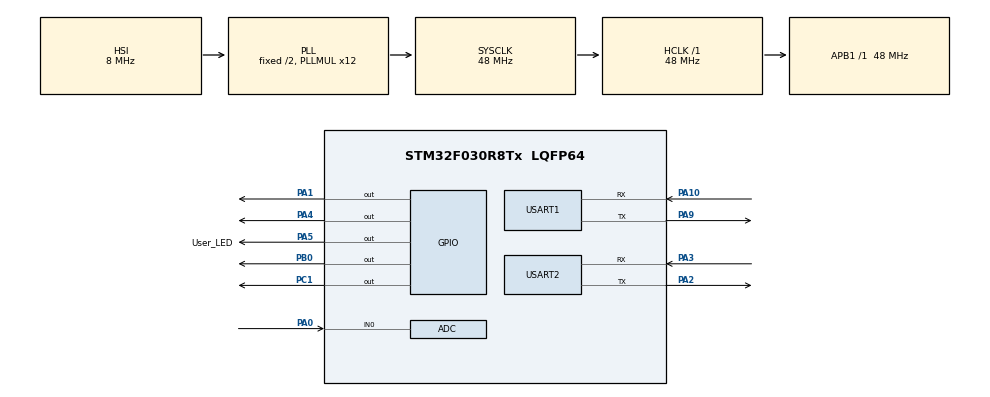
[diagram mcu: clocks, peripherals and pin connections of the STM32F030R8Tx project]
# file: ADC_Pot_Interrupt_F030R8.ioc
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ADC.ContinuousConvMode=ENABLE
ADC.SamplingTime=ADC_SAMPLETIME_239CYCLES_5
Mcu.Family=STM32F0
Mcu.Name=STM32F030R8Tx
Mcu.Package=LQFP64
NVIC.ADC1_IRQn=true\:0\:0\:false\:false\:true\:true\:true\:true
PA0.Mode=IN0
PA0.Signal=ADC_IN0
PA1.GPIO_Speed=GPIO_SPEED_FREQ_MEDIUM
PA1.Signal=GPIO_Output
PA10.Mode=Asynchronous
PA10.Signal=USART1_RX
PA13.Mode=Serial_Wire
PA13.Signal=SYS_SWDIO
PA14.Mode=Serial_Wire
PA14.Signal=SYS_SWCLK
PA2.Mode=Asynchronous
PA2.Signal=USART2_TX
PA3.Mode=Asynchronous
PA3.Signal=USART2_RX
PA4.GPIO_Speed=GPIO_SPEED_FREQ_MEDIUM
PA4.Signal=GPIO_Output
PA5.GPIO_Label=User_LED
PA5.GPIO_Speed=GPIO_SPEED_FREQ_MEDIUM
PA5.Signal=GPIO_Output
PA9.Mode=Asynchronous
PA9.Signal=USART1_TX
PB0.GPIO_Speed=GPIO_SPEED_FREQ_MEDIUM
PB0.Signal=GPIO_Output
PC1.GPIO_Speed=GPIO_SPEED_FREQ_MEDIUM
PC1.Signal=GPIO_Output
ProjectManager.HeapSize=0x200
ProjectManager.StackSize=0x400
ProjectManager.TargetToolchain=STM32CubeIDE
RCC.AHBFreq_Value=48000000
RCC.APB1Freq_Value=48000000
RCC.APB1TimFreq_Value=48000000
RCC.HCLKFreq_Value=48000000
RCC.PLLMUL=RCC_PLL_MUL12
RCC.SYSCLKFreq_VALUE=48000000
RCC.SYSCLKSource=RCC_SYSCLKSOURCE_PLLCLK
USART1.VirtualMode-Asynchronous=VM_ASYNC
USART2.VirtualMode-Asynchronous=VM_ASYNC
board=NUCLEO-F030R8

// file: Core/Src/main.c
/* USER CODE BEGIN Header */
/**
 ******************************************************************************
 * @file           : main.c
 * @brief          : Main program body
 ******************************************************************************
 * @attention
 *
 * Copyright (c) 2026 STMicroelectronics.
 * All rights reserved.
 *
 * This software is licensed under terms that can be found in the LICENSE file
 * in the root directory of this software component.
 * If no LICENSE file comes with this software, it is provided AS-IS.
 *
 ******************************************************************************
 */
/* USER CODE END Header */
#include "main.h"

/* USER CODE BEGIN PD */
//DENEME
/* USER CODE END PD */

ADC_HandleTypeDef hadc;

UART_HandleTypeDef huart1;
UART_HandleTypeDef huart2;

/* USER CODE BEGIN PV */
volatile uint32_t ADC_Value = 0; //ADC degerini tutmak icin yazildi, surekli degisen deger tutacagini islemciye bildirmek icin yazildi
float Voltage = 0;               //gerilimi kaydetmek icin yazildi
int Constrain_Value = 0; //sinirlama fonksiyonunda, hesaplama yapmak icin yazildi
volatile long Map_Value = 0; //map fonksiyonunda, hesaplama yapmak icin yazildi
/* USER CODE END PV */

void SystemClock_Config(void);
static void MX_GPIO_Init(void);
static void MX_ADC_Init(void);
static void MX_USART1_UART_Init(void);
static void MX_USART2_UART_Init(void);
/* USER CODE BEGIN PFP */
int constrain(int value, int min, int max); //bu fonksiyon ADC degerlerini belli bir aralikta (max ile min araligi) sınırlamak icin kullanilir
long map(long value, long in_min, long in_max, long out_min, long out_max); //bu fonksiyon constrain fonksiyonu ile sinirlandirilan araliktadki ADC degerlerini 0 ile 100 araligina donusturur
/* USER CODE END PFP */

/* USER CODE BEGIN 0 */
int constrain(int value, int min, int max) { //bu fonksiyon ADC degerlerini belli bir aralikta (max ile min araligi) sınırlamak icin kullanilir
	if (value < min) //alinan ADC degeri minimum degerden kucuk olup olmadigi kontrol edildi
		return min;
	else if (value > max) //alinan ADC degeri maximum degerden buyuk olup olmadigi kontrol edildi
		return max;
	else
		return value; //alinan ADC degeri minimum ve maksimum arasinda ise degeri degismedi
}

long map(long value, long in_min, long in_max, long out_min, long out_max) { //belirli araliktaki degerleri istenilen baska bir araliga (0 ile 100 arasina) donusturmek icin yazildi
	return ((Constrain_Value - in_min) * (out_max - out_min) / (in_max - in_min))
			+ out_min; //iki noktasi bilinen dogrunun denklemini bulan formule gore yazildi, sonuc=(ADC-x1)*(y2-y1)/(x2-x1)+y1
}
/* USER CODE END 0 */

int main(void) {

	/* MCU Configuration--------------------------------------------------------*/

	/* Reset of all peripherals, Initializes the Flash interface and the Systick. */
	HAL_Init();

	/* Configure the system clock */
	SystemClock_Config();

	/* Initialize all configured peripherals */
	MX_GPIO_Init();
	MX_ADC_Init();
	MX_USART1_UART_Init();
	MX_USART2_UART_Init();
	/* USER CODE BEGIN 2 */
	HAL_ADC_Start_IT(&hadc);    //interrupt baslatmak icin yazildi
	/* USER CODE END 2 */

	/* Infinite loop */
	while (1) {

		/* USER CODE BEGIN 3 */
		Constrain_Value = constrain(ADC_Value, 50, 4050); //ADC_Value degerlerini 50 ile 4050 arasina sinirlandirmak icin yazildi
		Map_Value = map(Constrain_Value, 50, 4050, 0, 100);	//sinirlandirilan ADC degerlerini map fonksiyonu ile 0-100 arasina donusturuldu

		// 1. LED: 0'dan büyükse yanar (25'in altında bile olsa)
		if (Map_Value > 0) {
			HAL_GPIO_WritePin(GPIOA, GPIO_PIN_1, GPIO_PIN_SET);
		} else {
			HAL_GPIO_WritePin(GPIOA, GPIO_PIN_1, GPIO_PIN_RESET);
		}

		// 2. LED: 25'ten büyükse yanar
		if (Map_Value > 25) {
			HAL_GPIO_WritePin(GPIOA, GPIO_PIN_4, GPIO_PIN_SET);
		} else {
			HAL_GPIO_WritePin(GPIOA, GPIO_PIN_4, GPIO_PIN_RESET);
		}

		// 3. LED: 50'den büyükse yanar
		if (Map_Value > 50) {
			HAL_GPIO_WritePin(GPIOB, GPIO_PIN_0, GPIO_PIN_SET);
		} else {
			HAL_GPIO_WritePin(GPIOB, GPIO_PIN_0, GPIO_PIN_RESET);
		}

		// 4. LED: 75'ten büyükse yanar
		if (Map_Value > 75) {
			HAL_GPIO_WritePin(GPIOC, GPIO_PIN_1, GPIO_PIN_SET);
		} else {
			HAL_GPIO_WritePin(GPIOC, GPIO_PIN_1, GPIO_PIN_RESET);
		}

		Voltage = ADC_Value * (3.3 / 4096); //gerilim degeri hesaplamak icin yazildi
		HAL_Delay(50);
	}

}
/* USER CODE END 3 */

void SystemClock_Config(void) {
	RCC_OscInitTypeDef RCC_OscInitStruct = { 0 };
	RCC_ClkInitTypeDef RCC_ClkInitStruct = { 0 };
	RCC_PeriphCLKInitTypeDef PeriphClkInit = { 0 };

	/** Initializes the RCC Oscillators according to the specified parameters
	 * in the RCC_OscInitTypeDef structure.
	 */
	RCC_OscInitStruct.OscillatorType = RCC_OSCILLATORTYPE_HSI
			| RCC_OSCILLATORTYPE_HSI14;
	RCC_OscInitStruct.HSIState = RCC_HSI_ON;
	RCC_OscInitStruct.HSI14State = RCC_HSI14_ON;
	RCC_OscInitStruct.HSICalibrationValue = RCC_HSICALIBRATION_DEFAULT;
	RCC_OscInitStruct.HSI14CalibrationValue = 16;
	RCC_OscInitStruct.PLL.PLLState = RCC_PLL_ON;
	RCC_OscInitStruct.PLL.PLLSource = RCC_PLLSOURCE_HSI;
	RCC_OscInitStruct.PLL.PLLMUL = RCC_PLL_MUL12;
	RCC_OscInitStruct.PLL.PREDIV = RCC_PREDIV_DIV1;
	if (HAL_RCC_OscConfig(&RCC_OscInitStruct) != HAL_OK) {
		Error_Handler();
	}

	/** Initializes the CPU, AHB and APB buses clocks
	 */
	RCC_ClkInitStruct.ClockType = RCC_CLOCKTYPE_HCLK | RCC_CLOCKTYPE_SYSCLK
			| RCC_CLOCKTYPE_PCLK1;
	RCC_ClkInitStruct.SYSCLKSource = RCC_SYSCLKSOURCE_PLLCLK;
	RCC_ClkInitStruct.AHBCLKDivider = RCC_SYSCLK_DIV1;
	RCC_ClkInitStruct.APB1CLKDivider = RCC_HCLK_DIV1;

	if (HAL_RCC_ClockConfig(&RCC_ClkInitStruct, FLASH_LATENCY_1) != HAL_OK) {
		Error_Handler();
	}
	PeriphClkInit.PeriphClockSelection = RCC_PERIPHCLK_USART1;
	PeriphClkInit.Usart1ClockSelection = RCC_USART1CLKSOURCE_PCLK1;
	if (HAL_RCCEx_PeriphCLKConfig(&PeriphClkInit) != HAL_OK) {
		Error_Handler();
	}
}

static void MX_ADC_Init(void) {

	ADC_ChannelConfTypeDef sConfig = { 0 };

	/** Configure the global features of the ADC (Clock, Resolution, Data Alignment and number of conversion)
	 */
	hadc.Instance = ADC1;
	hadc.Init.ClockPrescaler = ADC_CLOCK_ASYNC_DIV1;
	hadc.Init.Resolution = ADC_RESOLUTION_12B;
	hadc.Init.DataAlign = ADC_DATAALIGN_RIGHT;
	hadc.Init.ScanConvMode = ADC_SCAN_DIRECTION_FORWARD;
	hadc.Init.EOCSelection = ADC_EOC_SINGLE_CONV;
	hadc.Init.LowPowerAutoWait = DISABLE;
	hadc.Init.LowPowerAutoPowerOff = DISABLE;
	hadc.Init.ContinuousConvMode = ENABLE;
	hadc.Init.DiscontinuousConvMode = DISABLE;
	hadc.Init.ExternalTrigConv = ADC_SOFTWARE_START;
	hadc.Init.ExternalTrigConvEdge = ADC_EXTERNALTRIGCONVEDGE_NONE;
	hadc.Init.DMAContinuousRequests = DISABLE;
	hadc.Init.Overrun = ADC_OVR_DATA_PRESERVED;
	if (HAL_ADC_Init(&hadc) != HAL_OK) {
		Error_Handler();
	}

	/** Configure for the selected ADC regular channel to be converted.
	 */
	sConfig.Channel = ADC_CHANNEL_0;
	sConfig.Rank = ADC_RANK_CHANNEL_NUMBER;
	sConfig.SamplingTime = ADC_SAMPLETIME_239CYCLES_5;
	if (HAL_ADC_ConfigChannel(&hadc, &sConfig) != HAL_OK) {
		Error_Handler();
	}

}

static void MX_USART1_UART_Init(void) {

	huart1.Instance = USART1;
	huart1.Init.BaudRate = 38400;
	huart1.Init.WordLength = UART_WORDLENGTH_8B;
	huart1.Init.StopBits = UART_STOPBITS_1;
	huart1.Init.Parity = UART_PARITY_NONE;
	huart1.Init.Mode = UART_MODE_TX_RX;
	huart1.Init.HwFlowCtl = UART_HWCONTROL_NONE;
	huart1.Init.OverSampling = UART_OVERSAMPLING_16;
	huart1.Init.OneBitSampling = UART_ONE_BIT_SAMPLE_DISABLE;
	huart1.AdvancedInit.AdvFeatureInit = UART_ADVFEATURE_NO_INIT;
	if (HAL_UART_Init(&huart1) != HAL_OK) {
		Error_Handler();
	}

}

static void MX_USART2_UART_Init(void) {

	huart2.Instance = USART2;
	huart2.Init.BaudRate = 38400;
	huart2.Init.WordLength = UART_WORDLENGTH_8B;
	huart2.Init.StopBits = UART_STOPBITS_1;
	huart2.Init.Parity = UART_PARITY_NONE;
	huart2.Init.Mode = UART_MODE_TX_RX;
	huart2.Init.HwFlowCtl = UART_HWCONTROL_NONE;
	huart2.Init.OverSampling = UART_OVERSAMPLING_16;
	huart2.Init.OneBitSampling = UART_ONE_BIT_SAMPLE_DISABLE;
	huart2.AdvancedInit.AdvFeatureInit = UART_ADVFEATURE_NO_INIT;
	if (HAL_UART_Init(&huart2) != HAL_OK) {
		Error_Handler();
	}

}

static void MX_GPIO_Init(void) {
	GPIO_InitTypeDef GPIO_InitStruct = { 0 };

	/* GPIO Ports Clock Enable */
	__HAL_RCC_GPIOC_CLK_ENABLE();
	__HAL_RCC_GPIOA_CLK_ENABLE();
	__HAL_RCC_GPIOB_CLK_ENABLE();

	/*Configure GPIO pin Output Level */
	HAL_GPIO_WritePin(GPIOC, GPIO_PIN_1, GPIO_PIN_RESET);

	/*Configure GPIO pin Output Level */
	HAL_GPIO_WritePin(GPIOA, GPIO_PIN_1 | GPIO_PIN_4 | User_LED_Pin,
			GPIO_PIN_RESET);

	/*Configure GPIO pin Output Level */
	HAL_GPIO_WritePin(GPIOB, GPIO_PIN_0, GPIO_PIN_RESET);

	/*Configure GPIO pin : PC1 */
	GPIO_InitStruct.Pin = GPIO_PIN_1;
	GPIO_InitStruct.Mode = GPIO_MODE_OUTPUT_PP;
	GPIO_InitStruct.Pull = GPIO_NOPULL;
	GPIO_InitStruct.Speed = GPIO_SPEED_FREQ_MEDIUM;
	HAL_GPIO_Init(GPIOC, &GPIO_InitStruct);

	/*Configure GPIO pins : PA1 PA4 User_LED_Pin */
	GPIO_InitStruct.Pin = GPIO_PIN_1 | GPIO_PIN_4 | User_LED_Pin;
	GPIO_InitStruct.Mode = GPIO_MODE_OUTPUT_PP;
	GPIO_InitStruct.Pull = GPIO_NOPULL;
	GPIO_InitStruct.Speed = GPIO_SPEED_FREQ_MEDIUM;
	HAL_GPIO_Init(GPIOA, &GPIO_InitStruct);

	/*Configure GPIO pin : PB0 */
	GPIO_InitStruct.Pin = GPIO_PIN_0;
	GPIO_InitStruct.Mode = GPIO_MODE_OUTPUT_PP;
	GPIO_InitStruct.Pull = GPIO_NOPULL;
	GPIO_InitStruct.Speed = GPIO_SPEED_FREQ_MEDIUM;
	HAL_GPIO_Init(GPIOB, &GPIO_InitStruct);

}

/* USER CODE BEGIN 4 */
void HAL_ADC_ConvCpltCallback(ADC_HandleTypeDef *hadc) {
	if (hadc->Instance == ADC1) { //hangi ADC den deger geldigini kontrol etmek icin yazildi (f030r8 de 1 tane ADC var ama başka mikrodenetleyicilerde 1 den fazla olabilir)
		ADC_Value = HAL_ADC_GetValue(hadc); //ADC degerini kayit etmek icin yazildi
		HAL_ADC_Start_IT(hadc); //tekrar ADC den veri almak icin interrupt modunda ADC tekrar baslatildi, bunu yapmazsan ADC den tekrar veri alamazsin
	}
}
/* USER CODE END 4 */

void Error_Handler(void) {
	__disable_irq();
	while (1) {
	}
}
